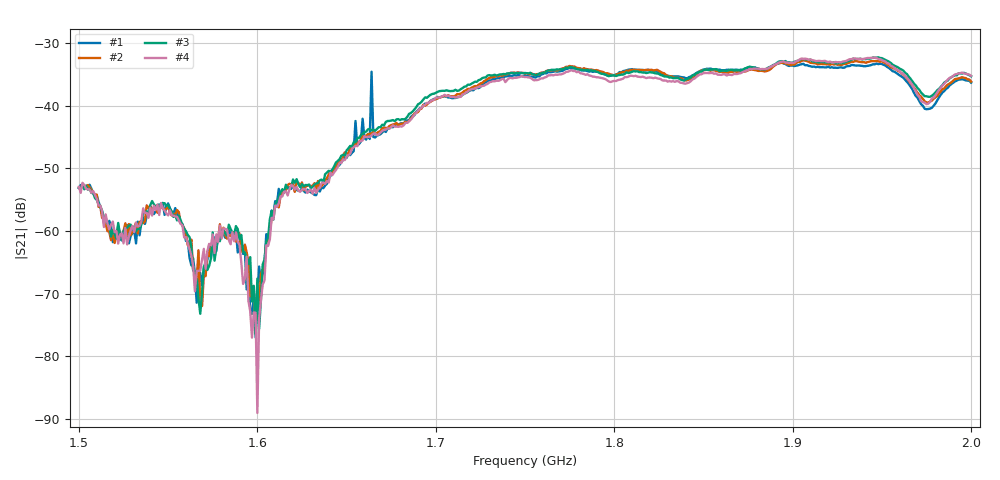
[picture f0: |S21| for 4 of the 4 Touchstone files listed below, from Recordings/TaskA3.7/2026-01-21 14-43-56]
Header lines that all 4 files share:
! NanoVNA-App by SYSJOINT et al v1.1.209 (+OD18)
! Start: 1,5GHz Stop: 2GHz Points: 501
! S-Parameter data: F S11 S21 S12 S22
# Hz S RI R 50
!  Frequency  S11_Real  S11_Imag  S21_Real  S21_Imag  S12_Real  S12_Imag  S22_Real  S22_Imag
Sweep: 1.5 GHz to 2 GHz
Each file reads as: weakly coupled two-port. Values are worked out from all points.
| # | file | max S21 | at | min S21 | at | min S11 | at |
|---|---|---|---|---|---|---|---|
| 1 | 0.s2p | -33.14 dB | 1.894 GHz | -77.0 dB | 1.599 GHz | -30.2 dB | 1.817 GHz |
| 2 | 1.s2p | -32.75 dB | 1.906 GHz | -75.8 dB | 1.599 GHz | -29.8 dB | 1.817 GHz |
| 3 | 2.s2p | -32.28 dB | 1.948 GHz | -76.5 dB | 1.599 GHz | -30.6 dB | 1.817 GHz |
| 4 | 3.s2p | -32.35 dB | 1.946 GHz | -89.0 dB | 1.6 GHz | -30.7 dB | 1.817 GHz |
